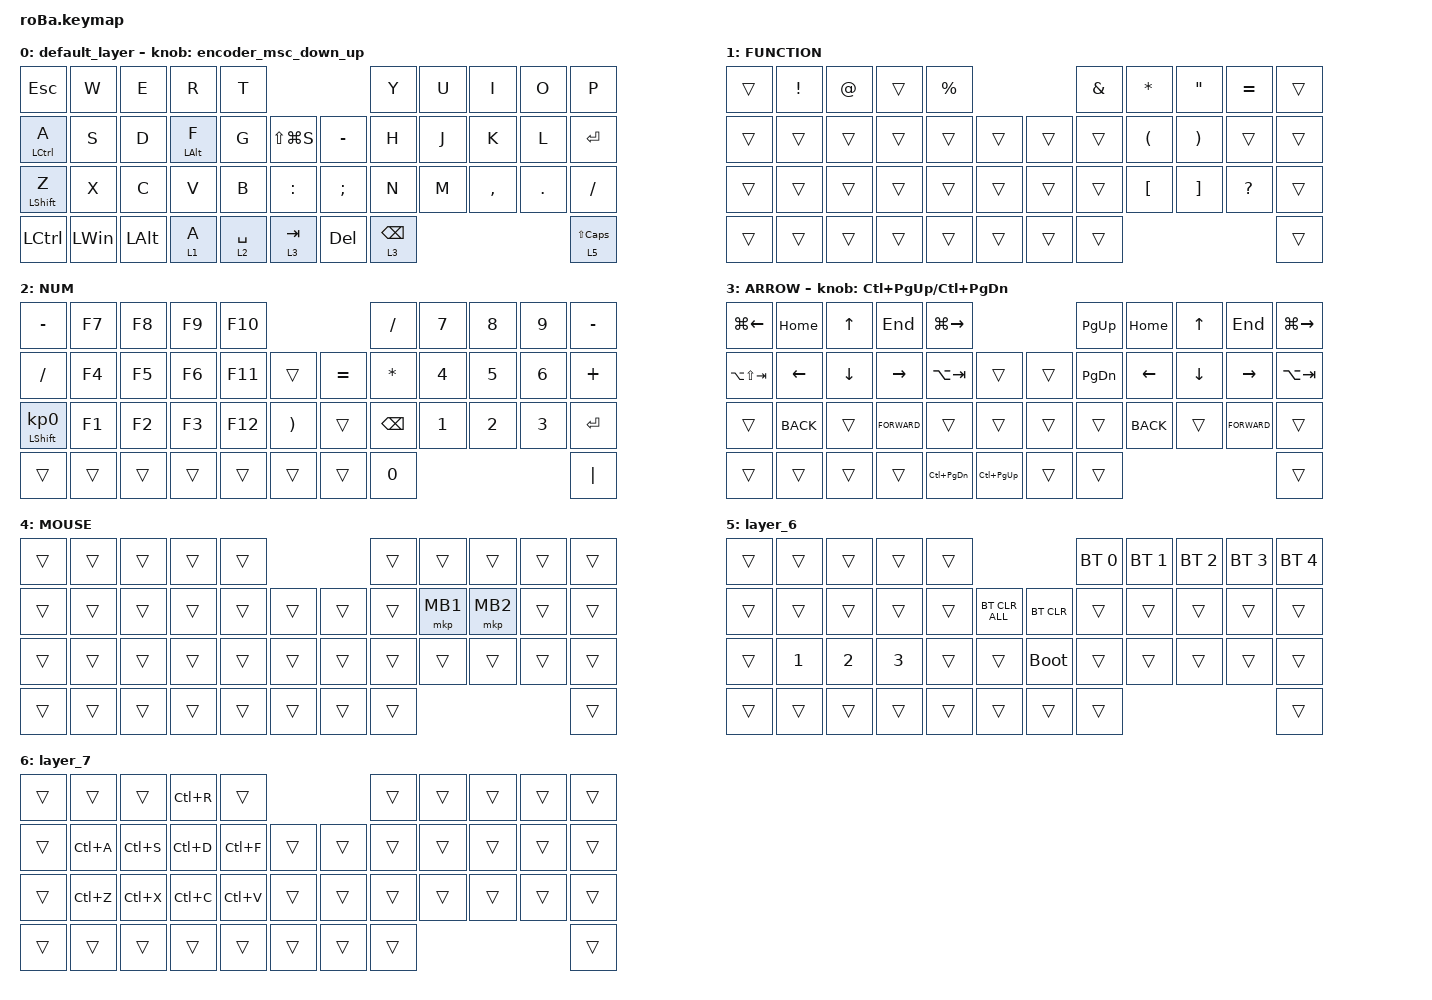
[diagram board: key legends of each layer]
#include <behaviors.dtsi>
#include <dt-bindings/zmk/bt.h>
#include <dt-bindings/zmk/keys.h>
#include <dt-bindings/zmk/pointing.h>

#define ZMK_POINTING_DEFAULT_SCRL_VAL 80

&mt {
    flavor = "balanced";
    quick-tap-ms = <0>;
};

&trackball {
    scroll-layers = <5>;

    // arrows {
    //     layers = <3>;
    //     bindings =
    //         <&kp RIGHT_ARROW>,
    //         <&kp LEFT_ARROW>,
    //         <&kp UP_ARROW>,
    //         <&kp DOWN_ARROW>;
    //     tick = <10>;
    //     wait-ms = <5>;
    //     tap-ms = <5>;
    // };
};

/ {
    combos {
        compatible = "zmk,combos";

        tab {
            bindings = <&kp TAB>;
            key-positions = <11 12>;
        };

        shift_tab {
            bindings = <&kp LS(TAB)>;
            key-positions = <12 13>;
        };

        eq {
            bindings = <&kp EQUAL>;
            key-positions = <24 25>;
        };

        Mousebotton1 {
            bindings = <&mkp LCLK>;
            key-positions = <18 19>;
        };

        Mousebotton2 {
            bindings = <&mkp RCLK>;
            key-positions = <19 20>;
        };

        Qbotton {
            bindings = <&kp Q>;
            key-positions = <0 1>;
        };
    };

    macros {
        to_layer_0: to_layer_0 {
            compatible = "zmk,behavior-macro-one-param";
            #binding-cells = <1>;
            bindings = <&to 0 &macro_param_1to1 &kp MACRO_PLACEHOLDER>;
            label = "TO_LAYER_0";
        };
    };

    behaviors {
        lt_to_layer_0: lt_to_layer_0 {
            compatible = "zmk,behavior-hold-tap";
            label = "LAYER_TAP_TO_0";
            bindings = <&mo>, <&to_layer_0>;

            #binding-cells = <2>;
            tapping-term-ms = <200>;
        };

        encoder_msc_down_up: encoder_msc_down_up {
            compatible = "zmk,behavior-sensor-rotate";
            label = "ENCODER_MSC_DOWN_UP";
            #sensor-binding-cells = <0>;
            bindings = <&msc SCRL_DOWN>, <&msc SCRL_UP>;

            tap-ms = <20>;
        };
    };

    keymap {
        compatible = "zmk,keymap";

        default_layer {
            bindings = <
&kp ESCAPE        &kp W         &kp E         &kp R           &kp T                                          &kp Y            &kp U  &kp I      &kp O    &kp P
&mt LCTRL A       &kp S         &kp D         &mt LEFT_ALT F  &kp G        &kp LS(LG(S))      &kp MINUS      &kp H            &kp J  &kp K      &kp L    &kp ENTER
&mt LEFT_SHIFT Z  &kp X         &kp C         &kp V           &kp B        &kp COLON          &kp SEMICOLON  &kp N            &kp M  &kp COMMA  &kp DOT  &kp SLASH
&kp LCTRL         &kp LEFT_WIN  &kp LEFT_ALT  &lt 1 A         &lt 2 SPACE  &lt 3 TAB          &kp DELETE     &lt 3 BACKSPACE                             &lt 5 LS(CAPSLOCK)
            >;

            sensor-bindings = <&encoder_msc_down_up>;
        };

        FUNCTION {
            bindings = <
&trans  &kp EXCL  &kp AT  &trans  &kp PERCENT                      &kp AMPS  &kp ASTERISK          &kp DOUBLE_QUOTES      &kp EQUAL     &trans
&trans  &trans    &trans  &trans  &trans       &trans      &trans  &trans    &kp LEFT_PARENTHESIS  &kp RIGHT_PARENTHESIS  &trans        &trans
&trans  &trans    &trans  &trans  &trans       &trans      &trans  &trans    &kp LEFT_BRACKET      &kp RIGHT_BRACKET      &kp QUESTION  &trans
&trans  &trans    &trans  &trans  &trans       &trans      &trans  &trans                                                               &trans
            >;
        };

        NUM {
            bindings = <
&kp MINUS                   &kp F7  &kp F8  &kp F9  &kp F10                                        &kp SLASH      &kp NUMBER_7  &kp NUMBER_8  &kp NUMBER_9  &kp MINUS
&kp SLASH                   &kp F4  &kp F5  &kp F6  &kp F11  &trans                     &kp EQUAL  &kp ASTRK      &kp NUMBER_4  &kp NUMBER_5  &kp NUMBER_6  &kp PLUS
&mt LEFT_SHIFT KP_NUMBER_0  &kp F1  &kp F2  &kp F3  &kp F12  &kp RIGHT_PARENTHESIS      &trans     &kp BACKSPACE  &kp NUMBER_1  &kp NUMBER_2  &kp NUMBER_3  &kp ENTER
&trans                      &trans  &trans  &trans  &trans   &trans                     &trans     &kp NUMBER_0                                             &kp PIPE
            >;
        };

        ARROW {
            bindings = <
&kp LG(LEFT)     &kp HOME        &kp UP_ARROW    &kp END          &kp LG(RIGHT)                                   &kp PAGE_UP    &kp HOME    &kp UP    &kp END        &kp LG(RIGHT)
&kp LA(LS(TAB))  &kp LEFT_ARROW  &kp DOWN_ARROW  &kp RIGHT_ARROW  &kp LA(TAB)        &trans               &trans  &kp PAGE_DOWN  &kp LEFT    &kp DOWN  &kp RIGHT      &kp LA(TAB)
&trans           &kp K_BACK      &trans          &kp K_FORWARD    &trans             &trans               &trans  &trans         &kp K_BACK  &trans    &kp K_FORWARD  &trans
&trans           &trans          &trans          &trans           &kp LC(PAGE_DOWN)  &kp LC(PAGE_UP)      &trans  &trans                                              &trans
            >;

            sensor-bindings = <&inc_dec_kp LC(PAGE_UP) LC(PAGE_DOWN)>;
        };

        MOUSE {
            bindings = <
&trans  &trans  &trans  &trans  &trans                      &trans  &trans    &trans    &trans  &trans
&trans  &trans  &trans  &trans  &trans  &trans      &trans  &trans  &mkp MB1  &mkp MB2  &trans  &trans
&trans  &trans  &trans  &trans  &trans  &trans      &trans  &trans  &trans    &trans    &trans  &trans
&trans  &trans  &trans  &trans  &trans  &trans      &trans  &trans                              &trans
            >;
        };

        layer_6 {
            bindings = <
&trans  &trans        &trans        &trans        &trans                                   &bt BT_SEL 0  &bt BT_SEL 1  &bt BT_SEL 2  &bt BT_SEL 3  &bt BT_SEL 4
&trans  &trans        &trans        &trans        &trans  &bt BT_CLR_ALL      &bt BT_CLR   &trans        &trans        &trans        &trans        &trans
&trans  &kp NUMBER_1  &kp NUMBER_2  &kp NUMBER_3  &trans  &trans              &bootloader  &trans        &trans        &trans        &trans        &trans
&trans  &trans        &trans        &trans        &trans  &trans              &trans       &trans                                                  &trans
            >;
        };

        layer_7 {
            bindings = <
&trans  &trans     &trans     &kp LC(R)  &trans                         &trans  &trans  &trans  &trans  &trans
&trans  &kp LC(A)  &kp LC(S)  &kp LC(D)  &kp LC(F)  &trans      &trans  &trans  &trans  &trans  &trans  &trans
&trans  &kp LC(Z)  &kp LC(X)  &kp LC(C)  &kp LC(V)  &trans      &trans  &trans  &trans  &trans  &trans  &trans
&trans  &trans     &trans     &trans     &trans     &trans      &trans  &trans                          &trans
            >;
        };
    };
};
